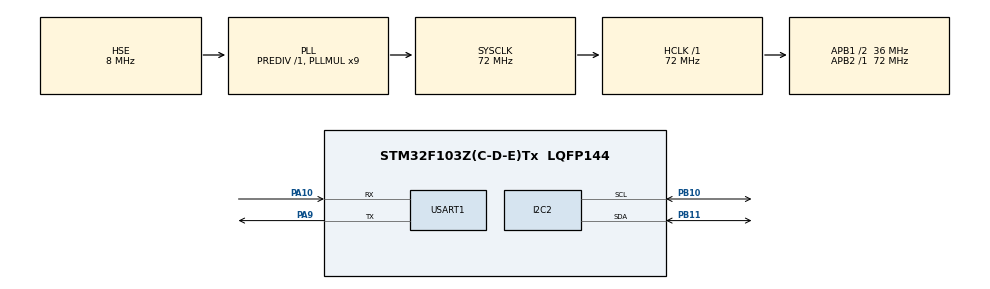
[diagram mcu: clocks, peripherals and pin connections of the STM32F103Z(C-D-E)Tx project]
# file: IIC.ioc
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Mcu.Family=STM32F1
Mcu.Name=STM32F103Z(C-D-E)Tx
Mcu.Package=LQFP144
NVIC.PriorityGroup=NVIC_PRIORITYGROUP_4
NVIC.TIM2_IRQn=true\:2\:0\:true\:false\:true\:true\:true
OSC_IN.Mode=HSE-External-Oscillator
OSC_IN.Signal=RCC_OSC_IN
OSC_OUT.Mode=HSE-External-Oscillator
OSC_OUT.Signal=RCC_OSC_OUT
PA10.Mode=Asynchronous
PA10.Signal=USART1_RX
PA13.Mode=Serial_Wire
PA13.Signal=SYS_JTMS-SWDIO
PA14.Mode=Serial_Wire
PA14.Signal=SYS_JTCK-SWCLK
PA9.Mode=Asynchronous
PA9.Signal=USART1_TX
PB10.Mode=I2C
PB10.Signal=I2C2_SCL
PB11.Mode=I2C
PB11.Signal=I2C2_SDA
ProjectManager.HeapSize=0x200
ProjectManager.StackSize=0x400
ProjectManager.TargetToolchain=MDK-ARM V5.27
RCC.AHBFreq_Value=72000000
RCC.APB1CLKDivider=RCC_HCLK_DIV2
RCC.APB1Freq_Value=36000000
RCC.APB1TimFreq_Value=72000000
RCC.APB2Freq_Value=72000000
RCC.APB2TimFreq_Value=72000000
RCC.HCLKFreq_Value=72000000
RCC.PLLMUL=RCC_PLL_MUL9
RCC.PLLSourceVirtual=RCC_PLLSOURCE_HSE
RCC.SYSCLKFreq_VALUE=72000000
RCC.SYSCLKSource=RCC_SYSCLKSOURCE_PLLCLK
RCC.USBFreq_Value=72000000
TIM2.Period=1999
TIM2.Prescaler=71
USART1.VirtualMode=VM_ASYNC
VP_TIM2_VS_ClockSourceINT.Mode=Internal
board=custom

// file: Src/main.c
/* USER CODE BEGIN Header */
/**
  ******************************************************************************
  * @file           : main.c
  * @brief          : Main program body
  ******************************************************************************
  * @attention
  *
  * <h2><center>&copy; Copyright (c) 2020 STMicroelectronics.
  * All rights reserved.</center></h2>
  *
  * This software component is licensed by ST under BSD 3-Clause license,
  * the "License"; You may not use this file except in compliance with the
  * License. You may obtain a copy of the License at:
  *                        opensource.org/licenses/BSD-3-Clause
  *
  ******************************************************************************
  */
/* USER CODE END Header */

#include "main.h"
#include "i2c.h"
#include "tim.h"
#include "usart.h"
#include "gpio.h"

/* USER CODE BEGIN Includes */
#include "stdio.h"

/* USER CODE END Includes */

void SystemClock_Config(void);

/* USER CODE BEGIN 0 */
int fputc(int ch, FILE *f){
  HAL_UART_Transmit(&huart1, (uint8_t *)&ch, 1, 0xffff);
  return ch;
}

/* USER CODE END 0 */

int main(void)
{

  /* MCU Configuration--------------------------------------------------------*/

  /* Reset of all peripherals, Initializes the Flash interface and the Systick. */
  HAL_Init();

  /* Configure the system clock */
  SystemClock_Config();

  /* Initialize all configured peripherals */
  MX_GPIO_Init();
  MX_TIM2_Init();
  MX_USART1_UART_Init();
  MX_I2C2_Init();
  /* USER CODE BEGIN 2 */

	uint8_t WriteBuffer[300];
	uint8_t ReadBuffer[300];
	HAL_TIM_Base_Start_IT(&htim2);

	for(int i=0; i<256; i++) WriteBuffer[i]=i;

	printf("\r\n***************I2C Example *******************************\r\n");

	for (int j=0; j<16; j++){
		if(HAL_I2C_Mem_Write(&hi2c2, 0xA0, 16*j, I2C_MEMADD_SIZE_8BIT,WriteBuffer+16*j,16, 0xff) == HAL_OK){
			printf("\r\n EEPROM 24C02 Write Test OK \r\n");
		}else{
			printf("\r\n EEPROM 24C02 Write Test False \r\n");
		}
		HAL_Delay(20);
	}

	HAL_I2C_Mem_Read(&hi2c2, 0xA1, 0, I2C_MEMADD_SIZE_8BIT,ReadBuffer,256, 0xff);

	for(int i=0; i<256; i++) printf("0x%02X  ",ReadBuffer[i]);

  /* USER CODE END 2 */

  /* Infinite loop */
  while (1)
  {

  }
}

void SystemClock_Config(void)
{
  RCC_OscInitTypeDef RCC_OscInitStruct = {0};
  RCC_ClkInitTypeDef RCC_ClkInitStruct = {0};

  /** Initializes the CPU, AHB and APB busses clocks
  */
  RCC_OscInitStruct.OscillatorType = RCC_OSCILLATORTYPE_HSE;
  RCC_OscInitStruct.HSEState = RCC_HSE_ON;
  RCC_OscInitStruct.HSEPredivValue = RCC_HSE_PREDIV_DIV1;
  RCC_OscInitStruct.HSIState = RCC_HSI_ON;
  RCC_OscInitStruct.PLL.PLLState = RCC_PLL_ON;
  RCC_OscInitStruct.PLL.PLLSource = RCC_PLLSOURCE_HSE;
  RCC_OscInitStruct.PLL.PLLMUL = RCC_PLL_MUL9;
  if (HAL_RCC_OscConfig(&RCC_OscInitStruct) != HAL_OK)
  {
    Error_Handler();
  }
  /** Initializes the CPU, AHB and APB busses clocks
  */
  RCC_ClkInitStruct.ClockType = RCC_CLOCKTYPE_HCLK|RCC_CLOCKTYPE_SYSCLK
                              |RCC_CLOCKTYPE_PCLK1|RCC_CLOCKTYPE_PCLK2;
  RCC_ClkInitStruct.SYSCLKSource = RCC_SYSCLKSOURCE_PLLCLK;
  RCC_ClkInitStruct.AHBCLKDivider = RCC_SYSCLK_DIV1;
  RCC_ClkInitStruct.APB1CLKDivider = RCC_HCLK_DIV2;
  RCC_ClkInitStruct.APB2CLKDivider = RCC_HCLK_DIV1;

  if (HAL_RCC_ClockConfig(&RCC_ClkInitStruct, FLASH_LATENCY_2) != HAL_OK)
  {
    Error_Handler();
  }
}

/* USER CODE BEGIN 4 */
void HAL_TIM_PeriodElapsedCallback(TIM_HandleTypeDef *htim){
//    if (htim == (&htim2)){
//			printf("AAAA");
//    }
}
/* USER CODE END 4 */

void Error_Handler(void)
{
}

/************************ (C) COPYRIGHT STMicroelectronics *****END OF FILE****/
